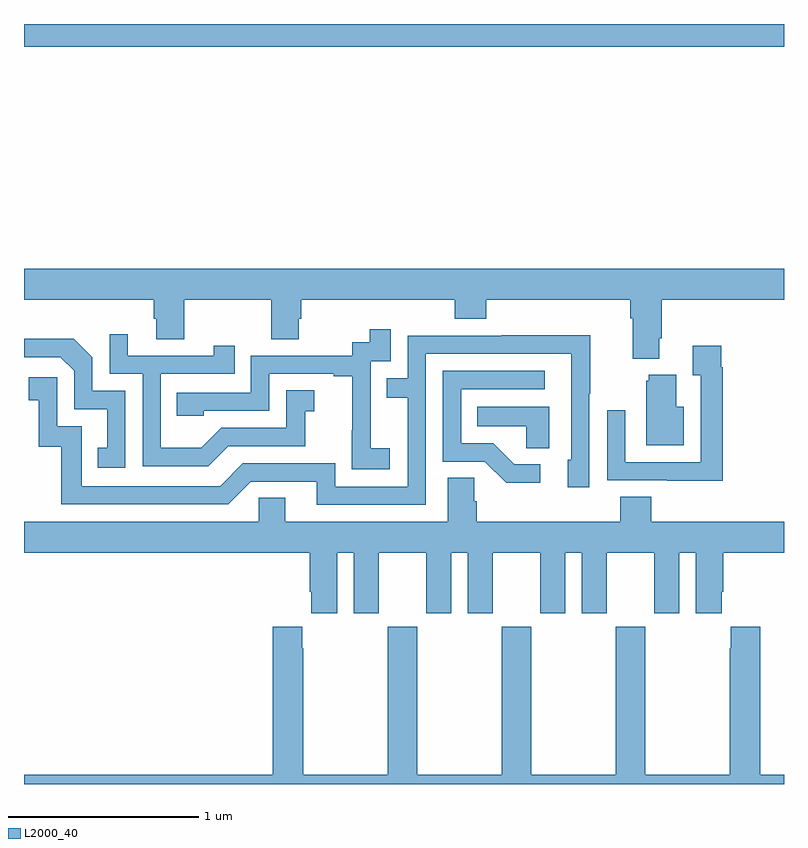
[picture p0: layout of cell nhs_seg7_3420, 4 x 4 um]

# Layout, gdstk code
import gdstk
lib = gdstk.Library(unit=1e-6, precision=1e-09)
def R(c, l, rs):  # rectangles x0, y0, x1, y1
    for r in rs: c.add(gdstk.rectangle(r[:2], r[2:], *l))
def P(c, l, *ps):  # polygons
    for p in ps: c.add(gdstk.Polygon(p, *l))
L2000_40 = (2000, 40)

nhs_seg7_3420 = lib.new_cell('nhs_seg7_3420')
R(nhs_seg7_3420, L2000_40, [(327,1069.88,331,1070)])
P(nhs_seg7_3420, L2000_40, [(327,1068.548),(327.683,1068.548),(327.683,1068.45),(327.695,1068.45),(327.695,1068.34),(327.843,1068.34),(327.843,1068.548),(328.3,1068.548),(328.3,1068.34),(328.447,1068.34),(328.447,1068.45),(328.46,1068.45),(328.46,1068.548),(329.267,1068.548),(329.267,1068.449),(329.432,1068.449),(329.432,1068.548),(330.191,1068.548),(330.191,1068.452),(330.203,1068.452),(330.203,1068.239),(330.343,1068.239),(330.343,1068.346),(330.356,1068.346),(330.356,1068.548),(331,1068.548),(331,1068.712),(327,1068.712)],
  [(328.924,1067.767),(328.826,1067.767),(328.826,1067.996),(328.824,1067.996),(328.824,1068.225),(328.929,1068.225),(328.929,1068.394),(328.821,1068.394),(328.821,1068.324),(328.728,1068.324),(328.728,1068.255),(328.194,1068.255),(328.194,1068.06),(327.805,1068.06),(327.805,1067.937),(327.945,1067.937),(327.945,1067.964),(328.29,1067.964),(328.29,1068.159),(328.631,1068.159),(328.631,1068.147),(328.727,1068.147),(328.727,1067.863),(328.726,1067.863),(328.726,1067.657),(328.924,1067.657)],
  [(328.075,1067.778),(328.479,1067.778),(328.479,1067.963),(328.528,1067.963),(328.528,1068.073),(328.38,1068.073),(328.38,1067.874),(328.038,1067.874),(327.934,1067.77),(327.72,1067.77),(327.72,1068.159),(328.109,1068.159),(328.109,1068.307),(327.998,1068.307),(327.998,1068.255),(327.547,1068.255),(327.547,1068.367),(327.45,1068.367),(327.45,1068.159),(327.624,1068.159),(327.624,1067.673),(327.97,1067.673)],
  [(329.115,1068.264),(329.88,1068.264),(329.88,1067.706),(329.861,1067.706),(329.861,1067.562),(329.976,1067.562),(329.976,1068.055),(329.979,1068.055),(329.979,1068.362),(329.515,1068.362),(329.515,1068.36),(329.019,1068.36),(329.019,1068.135),(328.909,1068.135),(328.909,1068.034),(329.019,1068.034),(329.019,1067.565),(328.638,1067.565),(328.638,1067.688),(328.152,1067.688),(328.032,1067.568),(327.303,1067.568),(327.303,1067.883),(327.174,1067.883),(327.174,1068.142),(327.024,1068.142),(327.024,1068.021),(327.077,1068.021),(327.077,1067.775),(327.195,1067.775),(327.195,1067.472),(328.074,1067.472),(328.194,1067.592),(328.541,1067.592),(328.541,1067.469),(329.115,1067.469)],
  [(327.534,1068.069),(327.36,1068.069),(327.36,1068.246),(327.262,1068.344),(327,1068.344),(327,1068.246),(327.192,1068.246),(327.264,1068.174),(327.264,1067.973),(327.437,1067.973),(327.437,1067.769),(327.388,1067.769),(327.388,1067.664),(327.534,1067.664)],
  [(330.677,1068.194),(330.67,1068.194),(330.67,1068.307),(330.521,1068.307),(330.521,1068.151),(330.561,1068.151),(330.561,1067.694),(330.165,1067.694),(330.165,1067.968),(330.069,1067.968),(330.069,1067.598),(330.385,1067.598),(330.385,1067.597),(330.677,1067.597)],
  [(329.716,1067.682),(329.581,1067.682),(329.47,1067.793),(329.301,1067.793),(329.301,1068.078),(329.74,1068.078),(329.74,1068.174),(329.205,1068.174),(329.205,1067.697),(329.424,1067.697),(329.537,1067.585),(329.716,1067.585)],
  [(330.472,1067.986),(330.433,1067.986),(330.433,1068.154),(330.287,1068.154),(330.287,1068.123),(330.275,1068.123),(330.275,1067.783),(330.472,1067.783)],
  [(329.764,1067.986),(329.386,1067.986),(329.386,1067.882),(329.643,1067.882),(329.643,1067.767),(329.764,1067.767)],
  [(328.648,1067.216),(328.736,1067.216),(328.736,1066.899),(328.867,1066.899),(328.867,1067.216),(329.117,1067.216),(329.117,1066.899),(329.248,1066.899),(329.248,1067.216),(329.336,1067.216),(329.336,1066.899),(329.467,1066.899),(329.467,1067.216),(329.717,1067.216),(329.717,1066.899),(329.848,1066.899),(329.848,1067.216),(329.936,1067.216),(329.936,1066.899),(330.067,1066.899),(330.067,1067.216),(330.317,1067.216),(330.317,1066.899),(330.448,1066.899),(330.448,1067.216),(330.536,1067.216),(330.536,1066.899),(330.673,1066.899),(330.673,1067.011),(330.68,1067.011),(330.68,1067.216),(331,1067.216),(331,1067.38),(330.302,1067.38),(330.302,1067.513),(330.137,1067.513),(330.137,1067.38),(329.384,1067.38),(329.384,1067.489),(329.37,1067.489),(329.37,1067.612),(329.231,1067.612),(329.231,1067.38),(328.375,1067.38),(328.375,1067.507),(328.236,1067.507),(328.236,1067.38),(327,1067.38),(327,1067.216),(328.505,1067.216),(328.505,1067.011),(328.511,1067.011),(328.511,1066.899),(328.648,1066.899)],
  [(328.465,1066.715),(328.465,1066.828),(328.31,1066.828),(328.31,1066.048),(327,1066.048),(327,1066),(331,1066),(331,1066.048),(330.875,1066.048),(330.875,1066.828),(330.719,1066.828),(330.719,1066.715),(330.715,1066.715),(330.715,1066.048),(330.27,1066.048),(330.27,1066.828),(330.115,1066.828),(330.115,1066.048),(329.67,1066.048),(329.67,1066.828),(329.515,1066.828),(329.515,1066.048),(329.07,1066.048),(329.07,1066.828),(328.915,1066.828),(328.915,1066.048),(328.47,1066.048),(328.47,1066.715)])

lib.write_gds('nhs_seg7_3420.gds')
